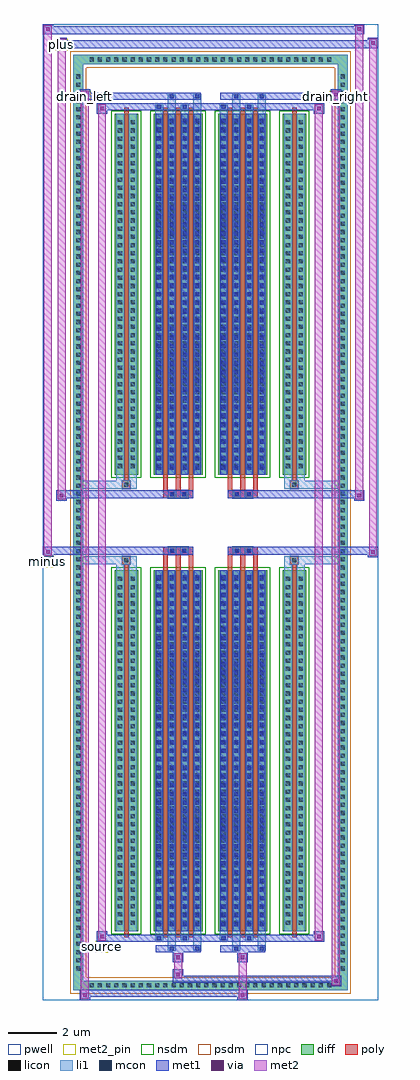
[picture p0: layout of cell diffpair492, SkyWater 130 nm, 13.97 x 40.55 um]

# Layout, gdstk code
import gdstk
lib = gdstk.Library(unit=1e-6, precision=5e-09)
def R(c, l, rs):  # rectangles x0, y0, x1, y1
    for r in rs: c.add(gdstk.rectangle(r[:2], r[2:], *l))
def A(c, l, x, y, w, h, nx, ny, dx, dy):  # array of equal rectangles
    R(c, l, [(x+i*dx, y+j*dy, x+i*dx+w, y+j*dy+h) for i in range(nx) for j in range(ny)])
def P(c, l, *ps):  # polygons
    for p in ps: c.add(gdstk.Polygon(p, *l))
pwell = (64, 44)
diff = (65, 20)
poly = (66, 20)
licon = (66, 44)
li1 = (67, 20)
mcon = (67, 44)
met1 = (68, 20)
via = (68, 44)
met2_pin = (69, 16)
met2 = (69, 20)
nsdm = (93, 44)
psdm = (94, 20)
npc = (95, 20)

diffpair492 = lib.new_cell('diffpair492')
R(diffpair492, pwell, [(-6.97,-19.84,6.97,20.71), (-4.29,-18.03,-0.01,-0.805), (0.01,-18.03,4.29,-0.805), (-4.29,0.805,-0.01,18.03), (0.01,0.805,4.29,18.03)])
A(diffpair492, diff, -5.135, -19.44, 0.41, 0.41, 30, 2, 0.34, 38.47)
A(diffpair492, diff, -5.7, -18.735, 0.41, 0.41, 1, 110, 0, 0.34)
A(diffpair492, diff, 5.29, -18.735, 0.41, 0.41, 1, 110, 0, 0.34)
R(diffpair492, diff, [(-5.135,-19.44,5.135,-19.03), (-5.7,-18.735,-5.29,18.735), (5.29,-18.735,5.7,18.735), (-3.98,-16.985,-3,-1.985), (-2.36,-16.985,-0.32,-1.985), (0.32,-16.985,2.36,-1.985), (3,-16.985,3.98,-1.985), (-3.98,1.985,-3,16.985), (-2.36,1.985,-0.32,16.985), (0.32,1.985,2.36,16.985), (3,1.985,3.98,16.985), (-5.135,19.03,5.135,19.44)])
P(diffpair492, diff, [(5.7,19.44),(-5.7,19.44),(-5.7,-19.03),(-5.29,-19.03),(-5.29,19.03),(5.29,19.03),(5.29,-19.03),(-5.29,-19.03),(-5.7,-19.03),(-5.7,-19.44),(5.7,-19.44)])
A(diffpair492, poly, -1.97, -17.235, 0.2, 15.5, 3, 2, 0.53, 18.97)
A(diffpair492, poly, 0.71, -17.235, 0.2, 15.5, 3, 2, 0.53, 18.97)
A(diffpair492, poly, -1.97, -1.735, 0.2, 0.4, 3, 2, 0.53, 3.07)
A(diffpair492, poly, 0.71, -1.735, 0.2, 0.4, 3, 2, 0.53, 3.07)
R(diffpair492, poly, [(-3.59,-17.235,-3.39,-1.735), (3.39,-17.235,3.59,-1.735), (-3.655,-1.735,-3.325,-1.405), (-3.655,-1.735,-3.325,-1.405), (3.325,-1.735,3.655,-1.405), (3.325,-1.735,3.655,-1.405), (-1.97,-1.335,-0.71,-1.005), (-1.755,-1.335,-1.425,-1.005), (-1.255,-1.335,-0.925,-1.005), (0.71,-1.335,1.97,-1.005), (0.925,-1.335,1.255,-1.005), (1.425,-1.335,1.755,-1.005), (-1.97,1.005,-0.71,1.335), (-1.755,1.005,-1.425,1.335), (-1.255,1.005,-0.925,1.335), (0.71,1.005,1.97,1.335), (0.925,1.005,1.255,1.335), (1.425,1.005,1.755,1.335), (-3.655,1.405,-3.325,1.735), (-3.655,1.405,-3.325,1.735), (3.325,1.405,3.655,1.735), (3.325,1.405,3.655,1.735), (-3.59,1.735,-3.39,17.235), (3.39,1.735,3.59,17.235)])
A(diffpair492, licon, -5.015, -19.32, 0.17, 0.17, 30, 2, 0.34, 38.47)
A(diffpair492, licon, -5.58, -18.615, 0.17, 0.17, 1, 110, 0, 0.34)
A(diffpair492, licon, 5.41, -18.615, 0.17, 0.17, 1, 110, 0, 0.34)
A(diffpair492, licon, -3.84, -16.71, 0.17, 0.17, 1, 43, 0, 0.34)
A(diffpair492, licon, -3.31, -16.71, 0.17, 0.17, 1, 43, 0, 0.34)
A(diffpair492, licon, -2.22, -16.71, 0.17, 0.17, 4, 43, 0.53, 0.34)
A(diffpair492, licon, 0.46, -16.71, 0.17, 0.17, 4, 43, 0.53, 0.34)
A(diffpair492, licon, 3.14, -16.71, 0.17, 0.17, 1, 43, 0, 0.34)
A(diffpair492, licon, 3.67, -16.71, 0.17, 0.17, 1, 43, 0, 0.34)
A(diffpair492, licon, -3.84, 2.26, 0.17, 0.17, 1, 43, 0, 0.34)
A(diffpair492, licon, -3.31, 2.26, 0.17, 0.17, 1, 43, 0, 0.34)
A(diffpair492, licon, -2.22, 2.26, 0.17, 0.17, 4, 43, 0.53, 0.34)
A(diffpair492, licon, 0.46, 2.26, 0.17, 0.17, 4, 43, 0.53, 0.34)
A(diffpair492, licon, 3.14, 2.26, 0.17, 0.17, 1, 43, 0, 0.34)
A(diffpair492, licon, 3.67, 2.26, 0.17, 0.17, 1, 43, 0, 0.34)
R(diffpair492, licon, [(-3.575,-1.655,-3.405,-1.485), (3.405,-1.655,3.575,-1.485), (-1.675,-1.255,-1.505,-1.085), (-1.175,-1.255,-1.005,-1.085), (1.005,-1.255,1.175,-1.085), (1.505,-1.255,1.675,-1.085), (-1.675,1.085,-1.505,1.255), (-1.175,1.085,-1.005,1.255), (1.005,1.085,1.175,1.255), (1.505,1.085,1.675,1.255), (-3.575,1.485,-3.405,1.655), (3.405,1.485,3.575,1.655)])
A(diffpair492, li1, -5.095, -19.4, 0.33, 0.33, 30, 2, 0.34, 38.47)
A(diffpair492, li1, -5.66, -18.695, 0.33, 0.33, 1, 110, 0, 0.34)
A(diffpair492, li1, 5.33, -18.695, 0.33, 0.33, 1, 110, 0, 0.34)
A(diffpair492, li1, -2.3, -16.985, 0.33, 15, 4, 2, 0.53, 18.97)
A(diffpair492, li1, 0.38, -16.985, 0.33, 15, 4, 2, 0.53, 18.97)
A(diffpair492, li1, -3.92, -16.79, 0.33, 0.33, 1, 43, 0, 0.34)
A(diffpair492, li1, -3.39, -16.79, 0.33, 0.33, 1, 43, 0, 0.34)
A(diffpair492, li1, -2.3, -16.79, 0.33, 0.33, 4, 43, 0.53, 0.34)
A(diffpair492, li1, 0.38, -16.79, 0.33, 0.33, 4, 43, 0.53, 0.34)
A(diffpair492, li1, 3.06, -16.79, 0.33, 0.33, 1, 43, 0, 0.34)
A(diffpair492, li1, 3.59, -16.79, 0.33, 0.33, 1, 43, 0, 0.34)
A(diffpair492, li1, -2.22, -16.77, 0.17, 0.17, 4, 41, 0.53, 0.36)
A(diffpair492, li1, -2.22, -16.77, 0.17, 14.57, 4, 2, 0.53, 18.97)
A(diffpair492, li1, 0.46, -16.77, 0.17, 0.17, 4, 41, 0.53, 0.36)
A(diffpair492, li1, 0.46, -16.77, 0.17, 14.57, 4, 2, 0.53, 18.97)
A(diffpair492, li1, -3.92, 2.18, 0.33, 0.33, 1, 43, 0, 0.34)
A(diffpair492, li1, -3.39, 2.18, 0.33, 0.33, 1, 43, 0, 0.34)
A(diffpair492, li1, -2.3, 2.18, 0.33, 0.33, 4, 43, 0.53, 0.34)
A(diffpair492, li1, 0.38, 2.18, 0.33, 0.33, 4, 43, 0.53, 0.34)
A(diffpair492, li1, 3.06, 2.18, 0.33, 0.33, 1, 43, 0, 0.34)
A(diffpair492, li1, 3.59, 2.18, 0.33, 0.33, 1, 43, 0, 0.34)
A(diffpair492, li1, -2.22, 2.2, 0.17, 0.17, 4, 41, 0.53, 0.36)
A(diffpair492, li1, 0.46, 2.2, 0.17, 0.17, 4, 41, 0.53, 0.36)
R(diffpair492, li1, [(-5.7,-19.44,-5.29,-19.03), (-5.7,-19.44,-5.29,-19.03), (-5.29,-19.44,5.29,-19.03), (5.29,-19.44,5.7,-19.03), (5.29,-19.44,5.7,-19.03), (-5.7,-19.03,-5.29,19.03), (5.29,-19.03,5.7,19.03), (-1.77,-17.79,-1.44,-16.985), (-1.69,-17.79,-1.52,-17.62), (-0.71,-17.79,-0.38,-16.985), (-0.63,-17.79,-0.46,-17.62), (0.91,-17.79,1.24,-16.985), (0.99,-17.79,1.16,-17.62), (1.97,-17.79,2.3,-16.985), (2.05,-17.79,2.22,-17.62), (-2.3,-17.36,-1.97,-16.985), (-2.22,-17.36,-2.05,-17.19), (-1.24,-17.36,-0.91,-16.985), (-1.16,-17.36,-0.99,-17.19), (0.38,-17.36,0.71,-16.985), (0.46,-17.36,0.63,-17.19), (1.44,-17.36,1.77,-16.985), (1.52,-17.36,1.69,-17.19), (-3.92,-16.985,-3.59,-1.985), (-3.39,-16.985,-3.06,-1.985), (3.06,-16.985,3.39,-1.985), (3.59,-16.985,3.92,-1.985), (-3.92,-1.985,-3.59,-1.405), (-3.39,-1.985,-3.06,-1.405), (3.06,-1.985,3.39,-1.405), (3.59,-1.985,3.92,-1.405), (-5.7,-1.735,-3.655,-1.405), (-3.92,-1.735,-3.655,-1.405), (-3.655,-1.735,-3.325,-1.405), (-3.325,-1.735,-3.06,-1.405), (3.06,-1.735,3.325,-1.405), (3.325,-1.735,3.655,-1.405), (3.325,-1.735,5.7,-1.405), (3.655,-1.735,3.92,-1.405), (-1.755,-1.335,-1.425,-1.005), (-1.255,-1.335,-0.925,-1.005), (0.925,-1.335,1.255,-1.005), (1.425,-1.335,1.755,-1.005), (-1.755,1.005,-1.425,1.335), (-1.255,1.005,-0.925,1.335), (0.925,1.005,1.255,1.335), (1.425,1.005,1.755,1.335), (-5.7,1.405,-3.655,1.735), (-3.92,1.405,-3.655,1.735), (-3.92,1.405,-3.59,1.985), (-3.655,1.405,-3.325,1.735), (-3.39,1.405,-3.06,1.985), (-3.325,1.405,-3.06,1.735), (3.06,1.405,3.325,1.735), (3.06,1.405,3.39,1.985), (3.325,1.405,3.655,1.735), (3.325,1.405,5.7,1.735), (3.59,1.405,3.92,1.985), (3.655,1.405,3.92,1.735), (-3.92,1.985,-3.59,16.985), (-3.39,1.985,-3.06,16.985), (3.06,1.985,3.39,16.985), (3.59,1.985,3.92,16.985), (-2.3,16.985,-1.97,17.36), (-1.77,16.985,-1.44,17.79), (-1.24,16.985,-0.91,17.36), (-0.71,16.985,-0.38,17.79), (0.38,16.985,0.71,17.36), (0.91,16.985,1.24,17.79), (1.44,16.985,1.77,17.36), (1.97,16.985,2.3,17.79), (-2.22,17.19,-2.05,17.36), (-1.16,17.19,-0.99,17.36), (0.46,17.19,0.63,17.36), (1.52,17.19,1.69,17.36), (-1.69,17.62,-1.52,17.79), (-0.63,17.62,-0.46,17.79), (0.99,17.62,1.16,17.79), (2.05,17.62,2.22,17.79), (-5.7,19.03,-5.29,19.44), (-5.7,19.03,-5.29,19.44), (-5.29,19.03,5.29,19.44), (5.29,19.03,5.7,19.44), (5.29,19.03,5.7,19.44)])
A(diffpair492, mcon, -2.22, -16.77, 0.17, 0.17, 4, 41, 0.53, 0.36)
A(diffpair492, mcon, 0.46, -16.77, 0.17, 0.17, 4, 41, 0.53, 0.36)
A(diffpair492, mcon, -2.22, 2.2, 0.17, 0.17, 4, 41, 0.53, 0.36)
A(diffpair492, mcon, 0.46, 2.2, 0.17, 0.17, 4, 41, 0.53, 0.36)
R(diffpair492, mcon, [(-1.69,-17.79,-1.52,-17.62), (-0.63,-17.79,-0.46,-17.62), (0.99,-17.79,1.16,-17.62), (2.05,-17.79,2.22,-17.62), (-2.22,-17.36,-2.05,-17.19), (-1.16,-17.36,-0.99,-17.19), (0.46,-17.36,0.63,-17.19), (1.52,-17.36,1.69,-17.19), (-1.675,-1.255,-1.505,-1.085), (-1.175,-1.255,-1.005,-1.085), (1.005,-1.255,1.175,-1.085), (1.505,-1.255,1.675,-1.085), (-1.675,1.085,-1.505,1.255), (-1.175,1.085,-1.005,1.255), (1.005,1.085,1.175,1.255), (1.505,1.085,1.675,1.255), (-2.22,17.19,-2.05,17.36), (-1.16,17.19,-0.99,17.36), (0.46,17.19,0.63,17.36), (1.52,17.19,1.69,17.36), (-1.69,17.62,-1.52,17.79), (-0.63,17.62,-0.46,17.79), (0.99,17.62,1.16,17.79), (2.05,17.62,2.22,17.79)])
A(diffpair492, met1, -2.28, -16.985, 0.29, 15, 4, 2, 0.53, 18.97)
A(diffpair492, met1, 0.4, -16.985, 0.29, 15, 4, 2, 0.53, 18.97)
A(diffpair492, met1, -2.28, -16.83, 0.29, 0.29, 4, 41, 0.53, 0.36)
A(diffpair492, met1, 0.4, -16.83, 0.29, 0.29, 4, 41, 0.53, 0.36)
A(diffpair492, met1, -2.28, 2.14, 0.29, 0.29, 4, 41, 0.53, 0.36)
A(diffpair492, met1, 0.4, 2.14, 0.29, 0.29, 4, 41, 0.53, 0.36)
R(diffpair492, met1, [(-5.43,-19.84,-5,-19.41), (1.125,-19.84,1.555,-19.41), (-5.43,-19.7,1.555,-19.41), (5,-19.27,5.43,-18.84), (-1.555,-19.13,5.43,-18.84), (-1.555,-18.99,-1.125,-18.56), (-1.555,-18.28,-1.125,-17.85), (1.125,-18.28,1.555,-17.85), (-2.28,-17.85,-0.4,-17.56), (-1.75,-17.85,-1.46,-17.56), (-0.69,-17.85,-0.4,-17.56), (0.4,-17.85,2.28,-17.56), (0.93,-17.85,1.22,-17.56), (1.99,-17.85,2.28,-17.56), (-4.72,-17.42,-4.29,-16.99), (-4.72,-17.42,-2.28,-17.13), (-2.28,-17.42,-1.99,-17.13), (-2.28,-17.42,-0.4,-17.13), (-1.22,-17.42,-0.93,-17.13), (-0.4,-17.42,0.4,-17.13), (0.4,-17.42,0.69,-17.13), (0.4,-17.42,2.28,-17.13), (1.46,-17.42,1.75,-17.13), (2.28,-17.42,4.72,-17.13), (4.29,-17.42,4.72,-16.99), (-6.97,-1.435,-6.54,-1.005), (6.54,-1.435,6.97,-1.005), (-6.97,-1.335,-0.71,-1.005), (-1.97,-1.335,-0.71,-1.005), (0.71,-1.335,1.97,-1.005), (0.71,-1.335,6.97,-1.005), (-1.735,-1.315,-1.445,-1.025), (-1.235,-1.315,-0.945,-1.025), (0.945,-1.315,1.235,-1.025), (1.445,-1.315,1.735,-1.025), (-6.4,0.905,-5.97,1.335), (5.97,0.905,6.4,1.335), (-6.4,1.005,-1.97,1.335), (-1.97,1.005,-0.71,1.335), (0.71,1.005,1.97,1.335), (1.97,1.005,6.4,1.335), (-1.735,1.025,-1.445,1.315), (-1.235,1.025,-0.945,1.315), (0.945,1.025,1.235,1.315), (1.445,1.025,1.735,1.315), (-4.72,16.99,-4.29,17.42), (4.29,16.99,4.72,17.42), (-4.72,17.13,-2.28,17.42), (-2.28,17.13,-1.99,17.42), (-2.28,17.13,-0.4,17.42), (-1.22,17.13,-0.93,17.42), (-0.4,17.13,0.4,17.42), (0.4,17.13,0.69,17.42), (0.4,17.13,2.28,17.42), (1.46,17.13,1.75,17.42), (2.28,17.13,4.72,17.42), (-5.43,17.56,-5,17.99), (-5.43,17.56,-2.28,17.85), (-2.28,17.56,-0.4,17.85), (-1.75,17.56,-1.46,17.85), (-0.69,17.56,-0.4,17.85), (0.4,17.56,2.28,17.85), (0.93,17.56,1.22,17.85), (1.99,17.56,2.28,17.85), (2.28,17.56,5.43,17.85), (5,17.56,5.43,17.99), (-6.4,19.71,-5.97,20.14), (-6.4,19.71,-4.29,20.04), (-4.29,19.71,4.29,20.04), (4.29,19.71,6.97,20.04), (6.54,19.71,6.97,20.14), (-6.97,20.28,-6.54,20.71), (-6.97,20.28,-4.29,20.61), (-4.29,20.28,4.29,20.61), (4.29,20.28,6.4,20.61), (5.97,20.28,6.4,20.71)])
R(diffpair492, via, [(-5.29,-19.7,-5.14,-19.55), (1.265,-19.7,1.415,-19.55), (5.14,-19.13,5.29,-18.98), (-1.415,-18.85,-1.265,-18.7), (-1.415,-18.14,-1.265,-17.99), (1.265,-18.14,1.415,-17.99), (-4.58,-17.28,-4.43,-17.13), (4.43,-17.28,4.58,-17.13), (-6.83,-1.295,-6.68,-1.145), (6.68,-1.295,6.83,-1.145), (-6.26,1.045,-6.11,1.195), (6.11,1.045,6.26,1.195), (-4.58,17.13,-4.43,17.28), (4.43,17.13,4.58,17.28), (-5.29,17.7,-5.14,17.85), (5.14,17.7,5.29,17.85), (-6.26,19.85,-6.11,20), (6.68,19.85,6.83,20), (-6.83,20.42,-6.68,20.57), (6.11,20.42,6.26,20.57)])
R(diffpair492, met2_pin, [(-4.755,-17.87,-4.255,-17.37), (-7.005,-1.885,-6.505,-1.385), (-5.465,17.44,-4.965,17.94), (4.965,17.44,5.465,17.94), (-6.435,19.59,-5.935,20.09)])
R(diffpair492, met2, [(-5.38,-19.79,-5.05,-19.46), (-5.38,-19.79,-5.05,17.94), (1.175,-19.79,1.505,-19.46), (1.175,-19.46,1.505,-18.23), (5.05,-19.22,5.38,-18.89), (5.05,-19.22,5.38,17.94), (-1.505,-18.94,-1.175,-18.61), (-1.505,-18.61,-1.175,-18.23), (-1.505,-18.23,-1.175,-17.9), (1.175,-18.23,1.505,-17.9), (-4.67,-17.37,-4.34,-17.04), (-4.67,-17.37,-4.34,17.37), (4.34,-17.37,4.67,-17.04), (4.34,-17.37,4.67,17.37), (-6.92,-1.385,-6.59,-1.055), (-6.92,-1.385,-6.59,20.66), (6.59,-1.385,6.92,-1.055), (6.59,-1.385,6.92,20.09), (-6.35,0.955,-6.02,1.285), (-6.35,0.955,-6.02,20.09), (6.02,0.955,6.35,1.285), (6.02,0.955,6.35,20.66), (-4.67,17.04,-4.34,17.37), (4.34,17.04,4.67,17.37), (-5.38,17.61,-5.05,17.94), (5.05,17.61,5.38,17.94), (-6.35,19.76,-6.02,20.09), (6.59,19.76,6.92,20.09), (-6.92,20.33,-6.59,20.66), (6.02,20.33,6.35,20.66)])
P(diffpair492, met2, [(6.92,-1.385),(6.92,-1.385),(6.92,-1.055),(6.92,-1.055)],
  [(6.92,19.76),(6.92,19.76),(6.92,20.09),(6.92,20.09)],
  [(-6.59,-1.385),(-6.59,-1.385),(-6.59,-1.055),(-6.59,-1.055)],
  [(-6.59,20.33),(-6.59,20.33),(-6.59,20.66),(-6.59,20.66)],
  [(6.35,0.955),(6.35,0.955),(6.35,1.285),(6.35,1.285)],
  [(6.35,20.33),(6.35,20.33),(6.35,20.66),(6.35,20.66)],
  [(-6.02,0.955),(-6.02,0.955),(-6.02,1.285),(-6.02,1.285)],
  [(-6.02,19.76),(-6.02,19.76),(-6.02,20.09),(-6.02,20.09)],
  [(-5.05,-19.79),(-5.05,-19.79),(-5.05,-19.46),(-5.05,-19.46)],
  [(-5.05,17.61),(-5.05,17.61),(-5.05,17.94),(-5.05,17.94)],
  [(5.38,-19.22),(5.38,-19.22),(5.38,-18.89),(5.38,-18.89)],
  [(5.38,17.61),(5.38,17.61),(5.38,17.94),(5.38,17.94)],
  [(-4.34,-17.37),(-4.34,-17.37),(-4.34,-17.04),(-4.34,-17.04)],
  [(-4.34,17.04),(-4.34,17.04),(-4.34,17.37),(-4.34,17.37)],
  [(4.67,-17.37),(4.67,-17.37),(4.67,-17.04),(4.67,-17.04)],
  [(4.67,17.04),(4.67,17.04),(4.67,17.37),(4.67,17.37)])
R(diffpair492, nsdm, [(-4.11,-17.115,-2.87,-1.855), (-2.49,-17.115,-0.19,-1.855), (0.19,-17.115,2.49,-1.855), (2.87,-17.115,4.11,-1.855), (-4.11,1.855,-2.87,17.115), (-2.49,1.855,-0.19,17.115), (0.19,1.855,2.49,17.115), (2.87,1.855,4.11,17.115)])
P(diffpair492, psdm, [(5.83,19.57),(-5.83,19.57),(-5.83,-18.9),(-5.16,-18.9),(-5.16,18.9),(5.16,18.9),(5.16,-18.9),(-5.16,-18.9),(-5.83,-18.9),(-5.83,-19.57),(5.83,-19.57)])
R(diffpair492, npc, [(-3.675,-1.755,-3.305,-1.385), (3.305,-1.755,3.675,-1.385), (-1.775,-1.355,-1.405,-0.985), (-1.775,-1.355,-0.905,-0.985), (-1.775,-1.355,-0.905,-0.985), (-1.275,-1.355,-0.905,-0.985), (0.905,-1.355,1.275,-0.985), (0.905,-1.355,1.775,-0.985), (0.905,-1.355,1.775,-0.985), (1.405,-1.355,1.775,-0.985), (-1.775,0.985,-1.405,1.355), (-1.775,0.985,-0.905,1.355), (-1.775,0.985,-0.905,1.355), (-1.275,0.985,-0.905,1.355), (0.905,0.985,1.275,1.355), (0.905,0.985,1.775,1.355), (0.905,0.985,1.775,1.355), (1.405,0.985,1.775,1.355), (-3.675,1.385,-3.305,1.755), (3.305,1.385,3.675,1.755)])
diffpair492.add(gdstk.Label('minus', (-6.755,-1.635), layer=69, texttype=5))
diffpair492.add(gdstk.Label('drain_right', (5.215,17.69), layer=69, texttype=5))
diffpair492.add(gdstk.Label('drain_left', (-5.215,17.69), layer=69, texttype=5))
diffpair492.add(gdstk.Label('source', (-4.505,-17.62), layer=69, texttype=5))
diffpair492.add(gdstk.Label('plus', (-6.185,19.84), layer=69, texttype=5))

lib.write_gds('diffpair492.gds')
